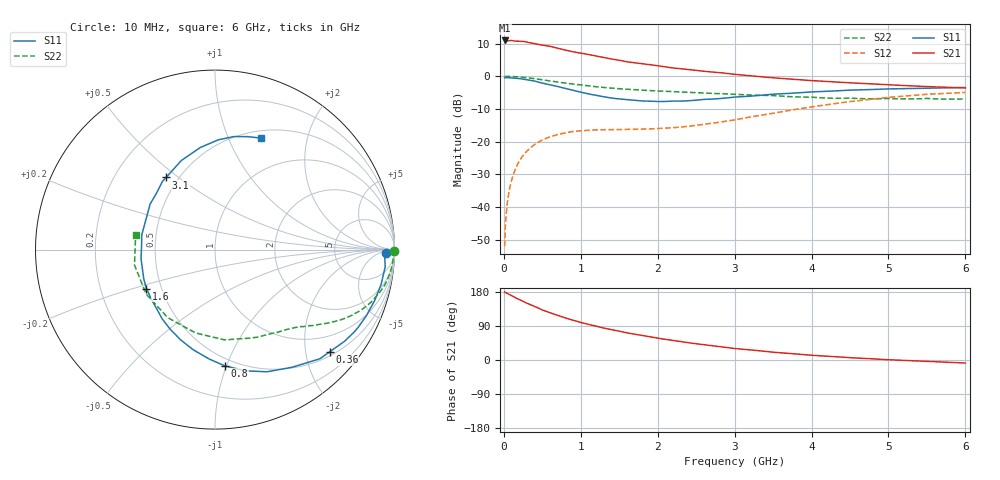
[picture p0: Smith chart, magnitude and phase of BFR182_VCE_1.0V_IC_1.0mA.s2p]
! Infineon Technologies  Discrete & RF Semiconductors
! BFR182
! VCE =  1.0 V,  IC =  1.0 mA
! Common Emitter S-Parameters:  Nov 2015
# GHz  S  MA  R  50
!  f  S11  S21  S12  S22
! GHz  MAG  ANG  MAG  ANG  MAG  ANG  MAG  ANG
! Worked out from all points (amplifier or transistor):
!   210 points, 10 MHz to 6 GHz, reference 50 ohm
!   highest |S21| = 10.9 dB at 10 MHz (marker M1)
!   |S21| within 3 dB of that: start of sweep to 808.7 MHz
!   unconditionally stable (mu >= 1): 1.728 GHz to 3.447 GHz
!   at 185 MHz: K = 0.13, MSG = 18.7 dB, |S12| = -26.7 dB
!   at 1.52 GHz: K = 0.90, MSG = 10.6 dB, |S12| = -16.3 dB
!   at 6 GHz: K = 0.97, MSG = 0.7 dB, |S12| = -5.0 dB
!   S11 on the Smith chart (normalised r, x): 10 MHz: 36, -16; 360 MHz: 0.59, -2.51; 800 MHz: 0.44, -0.99; 1.6 GHz: 0.41, -0.22; 3.1 GHz: 0.43, +0.45; 6 GHz: 0.58, +1.32
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0.01  0.9543 -1.2  3.525 179.3  0.0025 89.6  0.9983 -0.5
0.02  0.9464 -2.2  3.46 178.0  0.005 88.8  0.9886 -1.0
0.04  0.9505 -4.6  3.476 176.1  0.0101 86.9  0.9931 -2.0
0.065  0.9497 -7.6  3.494 173.6  0.0165 85.1  0.9938 -3.3
0.1  0.9455 -11.9  3.522 170.3  0.0253 83.4  0.9908 -5.1
0.16  0.9303 -18.9  3.437 163.5  0.0402 77.9  0.9821 -8.2
0.24  0.9077 -28.5  3.429 155.5  0.0589 72.0  0.9652 -12.0
0.3  0.8841 -35.3  3.321 149.8  0.0714 68.8  0.9465 -14.7
0.36  0.8562 -41.7  3.212 144.9  0.0826 64.8  0.9285 -17.1
0.5  0.7845 -56.6  3.001 132.1  0.1056 56.9  0.8834 -22.3
0.6  0.7402 -66.9  2.865 124.5  0.1182 52.1  0.8465 -25.6
0.8  0.6509 -85.0  2.509 110.9  0.1358 44.4  0.7829 -30.6
1.02  0.5632 -104.0  2.235 98.0  0.1465 38.8  0.7284 -34.7
1.28  0.4897 -125.5  1.953 85.2  0.1516 35.0  0.6759 -38.8
1.6  0.4394 -150.4  1.661 71.6  0.1534 34.1  0.6319 -43.1
2.02  0.4095 179.3  1.432 56.9  0.1588 38.0  0.5931 -49.1
2.4  0.4208 155.8  1.269 45.4  0.1708 43.7  0.5646 -55.8
3.1  0.4855 124.1  1.042 28.6  0.2255 50.6  0.5214 -71.9
3.5  0.5306 110.7  0.945 20.6  0.2704 51.4  0.5057 -84.0
4.1  0.5806 96.1  0.843 11.3  0.3523 46.8  0.4686 -107.3
5.1  0.6412 79.1  0.729 -0.1  0.4843 33.0  0.4513 -151.5
6  0.6716 67.7  0.662 -8.0  0.5652 17.4  0.4494 169.6
